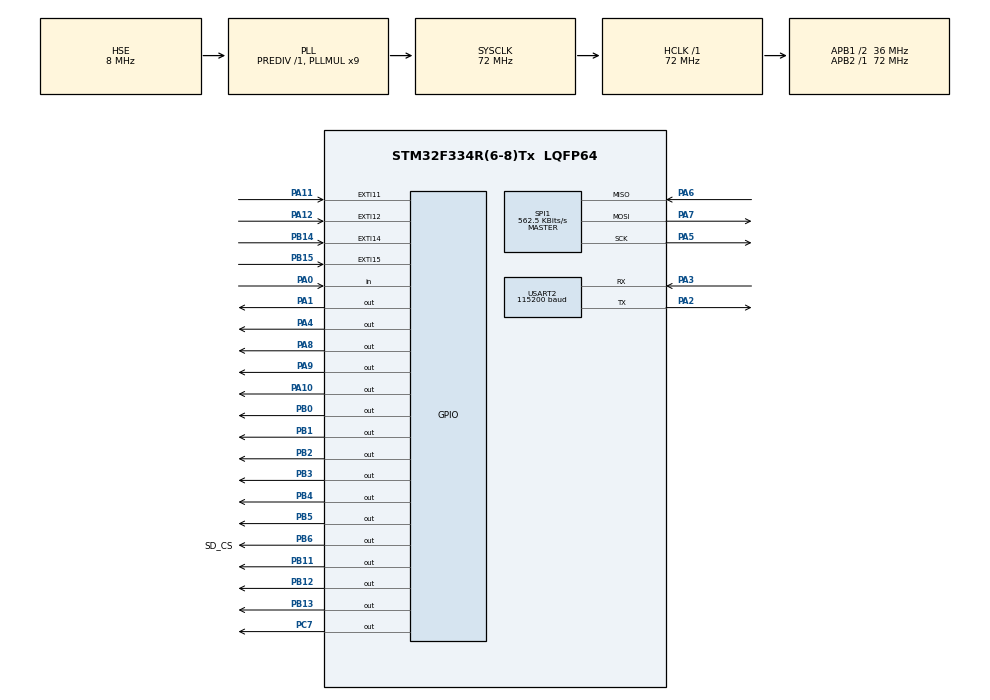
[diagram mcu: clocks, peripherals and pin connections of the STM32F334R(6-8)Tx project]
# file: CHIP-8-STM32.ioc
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Mcu.Family=STM32F3
Mcu.Name=STM32F334R(6-8)Tx
Mcu.Package=LQFP64
NVIC.EXTI15_10_IRQn=true\:0\:0\:false\:false\:true\:true\:true\:true
NVIC.PriorityGroup=NVIC_PRIORITYGROUP_4
PA0.Signal=GPIO_Input
PA1.Signal=GPIO_Output
PA10.Signal=GPIO_Output
PA11.Signal=GPXTI11
PA12.Signal=GPXTI12
PA2.Mode=Asynchronous
PA2.Signal=USART2_TX
PA3.Mode=Asynchronous
PA3.Signal=USART2_RX
PA4.Signal=GPIO_Output
PA5.GPIO_PuPd=GPIO_PULLUP
PA5.GPIO_Speed=GPIO_SPEED_FREQ_HIGH
PA5.Mode=Full_Duplex_Master
PA5.Signal=SPI1_SCK
PA6.GPIO_PuPd=GPIO_PULLUP
PA6.Mode=Full_Duplex_Master
PA6.Signal=SPI1_MISO
PA7.GPIO_PuPd=GPIO_PULLUP
PA7.Mode=Full_Duplex_Master
PA7.Signal=SPI1_MOSI
PA8.Signal=GPIO_Output
PA9.Signal=GPIO_Output
PB0.Signal=GPIO_Output
PB1.Signal=GPIO_Output
PB11.Signal=GPIO_Output
PB12.Signal=GPIO_Output
PB13.GPIO_ModeDefaultOutputPP=GPIO_MODE_OUTPUT_PP
PB13.GPIO_PuPd=GPIO_NOPULL
PB13.PinState=GPIO_PIN_RESET
PB13.Signal=GPIO_Output
PB14.Signal=GPXTI14
PB15.Signal=GPXTI15
PB2.Signal=GPIO_Output
PB3.Signal=GPIO_Output
PB4.Signal=GPIO_Output
PB5.Signal=GPIO_Output
PB6.GPIO_Label=SD_CS
PB6.GPIO_PuPd=GPIO_NOPULL
PB6.Signal=GPIO_Output
PC7.Signal=GPIO_Output
PF0\ /\ OSC_IN.Mode=HSE-External-Oscillator
PF0\ /\ OSC_IN.Signal=RCC_OSC_IN
PF1\ /\ OSC_OUT.Mode=HSE-External-Oscillator
PF1\ /\ OSC_OUT.Signal=RCC_OSC_OUT
ProjectManager.HeapSize=0x200
ProjectManager.StackSize=0x400
ProjectManager.TargetToolchain=STM32CubeIDE
RCC.AHBFreq_Value=72000000
RCC.APB1CLKDivider=RCC_HCLK_DIV2
RCC.APB1Freq_Value=36000000
RCC.APB1TimFreq_Value=72000000
RCC.APB2Freq_Value=72000000
RCC.APB2TimFreq_Value=72000000
RCC.CortexFreq_Value=72000000
RCC.HCLKFreq_Value=72000000
RCC.HSE_VALUE=8000000
RCC.HSI_VALUE=8000000
RCC.LSE_VALUE=32768
RCC.PLLMUL=RCC_PLL_MUL9
RCC.PLLSourceVirtual=RCC_PLLSOURCE_HSE
RCC.SYSCLKFreq_VALUE=72000000
RCC.SYSCLKSourceVirtual=RCC_SYSCLKSOURCE_PLLCLK
SPI1.BaudRatePrescaler=SPI_BAUDRATEPRESCALER_128
SPI1.CalculateBaudRate=562.5 KBits/s
SPI1.DataSize=SPI_DATASIZE_8BIT
SPI1.Direction=SPI_DIRECTION_2LINES
SPI1.Mode=SPI_MODE_MASTER
SPI1.VirtualType=VM_MASTER
USART2.BaudRate=115200
USART2.VirtualMode-Asynchronous=VM_ASYNC
VP_FATFS_VS_Generic.Mode=User_defined
board=custom

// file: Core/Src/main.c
/* USER CODE BEGIN Header */
/**
 ******************************************************************************
 * @file           : main.c
 * @brief          : Main program body
 ******************************************************************************
 * @attention
 *
 * Copyright (c) 2023 STMicroelectronics.
 * All rights reserved.
 *
 * This software is licensed under terms that can be found in the LICENSE file
 * in the root directory of this software component.
 * If no LICENSE file comes with this software, it is provided AS-IS.
 *
 ******************************************************************************
 */
/* USER CODE END Header */
#include "main.h"
#include "fatfs.h"

/* USER CODE BEGIN Includes */
#include "chip8.h"
#include "config.h"
#include "font.h"
#include "ili9341.h"
#include "matrix_keypad_4x4.h"
#include "stm32f3xx_hal.h"
#include "stm32f3xx_hal_gpio.h"
#include "utils.h"
#include <stdarg.h> //for va_list var arg functions
#include <stdint.h>
#include <stdio.h>
#include <stdlib.h>
#include <string.h>

/* USER CODE END Includes */

SPI_HandleTypeDef hspi1;

UART_HandleTypeDef huart2;

void SystemClock_Config(void);
static void MX_GPIO_Init(void);
static void MX_SPI1_Init(void);
static void MX_USART2_UART_Init(void);

/* USER CODE BEGIN 0 */
Chip8 vm;
struct ILI9341_t lcd;
/* USER CODE END 0 */

int main(void) {

  /* MCU Configuration--------------------------------------------------------*/

  /* Reset of all peripherals, Initializes the Flash interface and the Systick.
   */
  HAL_Init();

  /* Configure the system clock */
  SystemClock_Config();

  /* Initialize all configured peripherals */
  MX_GPIO_Init();
  MX_SPI1_Init();
  MX_USART2_UART_Init();
  MX_FATFS_Init();
  /* USER CODE BEGIN 2 */
  Uart_Init(huart2);
  Keypad_Init(&vm);
  ILI9341_Init(&lcd, (struct ILI9341_Pin_t){LCD_D7},
               (struct ILI9341_Pin_t){LCD_D6}, (struct ILI9341_Pin_t){LCD_D5},
               (struct ILI9341_Pin_t){LCD_D4}, (struct ILI9341_Pin_t){LCD_D3},
               (struct ILI9341_Pin_t){LCD_D2}, (struct ILI9341_Pin_t){LCD_D1},
               (struct ILI9341_Pin_t){LCD_D0},

               (struct ILI9341_Pin_t){LCD_RESET},
               (struct ILI9341_Pin_t){LCD_CS}, (struct ILI9341_Pin_t){LCD_RS},
               (struct ILI9341_Pin_t){LCD_WR}, (struct ILI9341_Pin_t){LCD_RD});
  ILI9341_SendInitializationSequence(&lcd);
  ILI9341_SetOrientation(&lcd, HORIZONTAL);
  ILI9341_FillScreen(&lcd, ILI9341_RgbTo565(255, 0, 0));
  // ========== SD
  Uart_print("\r\n~ SD card demo by kiwih ~\r\n\r\n");

  HAL_Delay(1000); // a short delay is important to let the SD card settle

  // some variables for FatFs
  FATFS FatFs;  // Fatfs handle
  FIL fil;      // File handle
  FRESULT fres; // Result after operations

  // Open the file system
  fres = f_mount(&FatFs, "", 1); // 1=mount now
  if (fres != FR_OK) {
    Uart_print("f_mount error (%i)\r\n", fres);
    while (1)
      ;
  }

  DIR dir;
  char *path;
  char string[128];
  FRESULT res;
  // char *games[60];
  char games[60][13];
  int max_g_size = 0;
  int g_size = 0;

  path = "";

  res = f_opendir(&dir, path);

  if (res == FR_OK) {
    while (1) {
      FILINFO fno;

      res = f_readdir(&dir, &fno);

      if ((res != FR_OK) || (fno.fname[0] == 0))
        break;

      strcpy(games[g_size], fno.fname);
      g_size++;
    }
  }

  char *modes[5] = {"CHIP8", "SCH10", "SCH11"};
  char *freqs[9] = {"  600", " 1200", " 1800", " 2400", " 4800", " 9600", "19200", "38400", "99999"};

  int i_modes = 0;
  int i_freqs = 0;
  int pages = 0;
  int game = -1;

  for (int i = 0; i < 16; i++) {
    c8_release_key(&vm, i);
  }

  while (game == -1) {
    ILI9341_WriteMenu_array(&lcd, 10, 95, &font, 8, 10, g_size, &games, pages,
                            modes[i_modes], freqs[i_freqs]);

    for (int i = 0; i < 16; i++) {
      if (vm.keypad[i]) {
        switch (i) {
        case 0:
          i_modes = (i_modes + 1) % 3;
          break;
        case 7:
          if (pages > 0) {
            pages = pages - 1;
            ILI9341_FillScreen(&lcd, ILI9341_RgbTo565(255, 0, 0));
          }
          break;
        case 8:
          i_freqs = (i_freqs + 1) % 9;
          break;
        case 15:
          if (pages < g_size / 12) {
            pages = pages + 1;
            ILI9341_FillScreen(&lcd, ILI9341_RgbTo565(255, 0, 0));
          }
          break;
        default:
          if (i >= 1 && i <= 6) {
            game = i - 1 + pages * 12;
          } else {
            game = i - 9 + 6 + pages * 12;
          }
          break;
        }
        c8_release_key(&vm, i);
      }
    }
  }

  int emu_freq = atoi(freqs[i_freqs]);
  c8_init(&vm, emu_freq, i_modes, HAL_GetTick());
  c8_set_is_polling(&vm, false);

  fres = f_open(&fil, games[game], FA_READ);
  if (fres != FR_OK) {
    Uart_print("f_open error (%i)\r\n", fres);
    while (1)
      ;
  }
  UINT bytesRead;
  uint16_t size = f_size(&fil);
  unsigned char *data = NULL;
  data = malloc(size);
  FRESULT tmp = f_read(&fil, data, (UINT)size, &bytesRead);

  if (tmp != FR_OK) {
    Uart_print("Error reading file: %i\n", tmp);
    while (1)
      ;
  }
  if (bytesRead == 0) { // EOF
    Uart_print("Error reading file: 0 bytes read\n");
    while (1)
      ;
  }
  if (bytesRead != (UINT)size) {
    Uart_print("Error reading file: %i bytes read instead of %i\n", bytesRead,
               size);
    while (1)
      ;
  }

  ILI9341_FillScreen(&lcd, ILI9341_RgbTo565(0, 255, 0));
  f_close(&fil);

  memcpy(&vm.RAM[PC_OFFSET], data, size);
  free(data);

  int i = 0;
  int c_beeper = 0;

  for (int i = 0; i < KEYPAD_SIZE; i++)
    c8_release_key(&vm, i);

  while (1) {
    uint64_t start = HAL_GetTick();
    c_beeper++;
    if (c8_ended(&vm))
      return 1;
    if (c8_cycle(&vm) != 0)
      goto unknown_opcode;
    c8_decrement_timers(&vm);
    if (c8_screen_updated(&vm)) {
      ILI9341_PrintScreenMetal(&lcd, vm.screen, 2);
    }

    if (c8_sound(&vm)) {
      //      HAL_GPIO_WritePin(GPIOB, GPIO_PIN_13, GPIO_PIN_SET);
      PIN_HIGH_METAL((struct ILI9341_Pin_t){BEEPER});
    } else if (!c8_sound(&vm) && c_beeper == 60) {
      //    	HAL_GPIO_WritePin(GPIOB, GPIO_PIN_13, GPIO_PIN_RESET);
      PIN_LOW_METAL((struct ILI9341_Pin_t){BEEPER});
      c_beeper = 0;
    }

    uint64_t performance_freq = HAL_RCC_GetHCLKFreq();
    uint64_t end = HAL_GetTick();
    double elapsed_time = ((end - start) * 1000) / performance_freq;
    if (elapsed_time < GAME_LOOP_DELAY) {
      HAL_Delay((uint32_t)(GAME_LOOP_DELAY - elapsed_time + 0.5));
    }
  }

unknown_opcode:
  Uart_print("Unknown opcode: 0x%04X\n", vm.opcode);
  return 1;

  /* USER CODE END 2 */

  /* Infinite loop */
  while (1) {

  }
}

void SystemClock_Config(void) {
  RCC_OscInitTypeDef RCC_OscInitStruct = {0};
  RCC_ClkInitTypeDef RCC_ClkInitStruct = {0};

  /** Initializes the RCC Oscillators according to the specified parameters
   * in the RCC_OscInitTypeDef structure.
   */
  RCC_OscInitStruct.OscillatorType = RCC_OSCILLATORTYPE_HSE;
  RCC_OscInitStruct.HSEState = RCC_HSE_ON;
  RCC_OscInitStruct.HSEPredivValue = RCC_HSE_PREDIV_DIV1;
  RCC_OscInitStruct.HSIState = RCC_HSI_ON;
  RCC_OscInitStruct.PLL.PLLState = RCC_PLL_ON;
  RCC_OscInitStruct.PLL.PLLSource = RCC_PLLSOURCE_HSE;
  RCC_OscInitStruct.PLL.PLLMUL = RCC_PLL_MUL9;
  if (HAL_RCC_OscConfig(&RCC_OscInitStruct) != HAL_OK) {
    Error_Handler();
  }

  /** Initializes the CPU, AHB and APB buses clocks
   */
  RCC_ClkInitStruct.ClockType = RCC_CLOCKTYPE_HCLK | RCC_CLOCKTYPE_SYSCLK |
                                RCC_CLOCKTYPE_PCLK1 | RCC_CLOCKTYPE_PCLK2;
  RCC_ClkInitStruct.SYSCLKSource = RCC_SYSCLKSOURCE_PLLCLK;
  RCC_ClkInitStruct.AHBCLKDivider = RCC_SYSCLK_DIV1;
  RCC_ClkInitStruct.APB1CLKDivider = RCC_HCLK_DIV2;
  RCC_ClkInitStruct.APB2CLKDivider = RCC_HCLK_DIV1;

  if (HAL_RCC_ClockConfig(&RCC_ClkInitStruct, FLASH_LATENCY_2) != HAL_OK) {
    Error_Handler();
  }
}

static void MX_SPI1_Init(void) {

  /* SPI1 parameter configuration*/
  hspi1.Instance = SPI1;
  hspi1.Init.Mode = SPI_MODE_MASTER;
  hspi1.Init.Direction = SPI_DIRECTION_2LINES;
  hspi1.Init.DataSize = SPI_DATASIZE_8BIT;
  hspi1.Init.CLKPolarity = SPI_POLARITY_LOW;
  hspi1.Init.CLKPhase = SPI_PHASE_1EDGE;
  hspi1.Init.NSS = SPI_NSS_SOFT;
  hspi1.Init.BaudRatePrescaler = SPI_BAUDRATEPRESCALER_128;
  hspi1.Init.FirstBit = SPI_FIRSTBIT_MSB;
  hspi1.Init.TIMode = SPI_TIMODE_DISABLE;
  hspi1.Init.CRCCalculation = SPI_CRCCALCULATION_DISABLE;
  hspi1.Init.CRCPolynomial = 7;
  hspi1.Init.CRCLength = SPI_CRC_LENGTH_DATASIZE;
  hspi1.Init.NSSPMode = SPI_NSS_PULSE_ENABLE;
  if (HAL_SPI_Init(&hspi1) != HAL_OK) {
    Error_Handler();
  }
}

static void MX_USART2_UART_Init(void) {

  huart2.Instance = USART2;
  huart2.Init.BaudRate = 115200;
  huart2.Init.WordLength = UART_WORDLENGTH_8B;
  huart2.Init.StopBits = UART_STOPBITS_1;
  huart2.Init.Parity = UART_PARITY_NONE;
  huart2.Init.Mode = UART_MODE_TX_RX;
  huart2.Init.HwFlowCtl = UART_HWCONTROL_NONE;
  huart2.Init.OverSampling = UART_OVERSAMPLING_16;
  huart2.Init.OneBitSampling = UART_ONE_BIT_SAMPLE_DISABLE;
  huart2.AdvancedInit.AdvFeatureInit = UART_ADVFEATURE_NO_INIT;
  if (HAL_UART_Init(&huart2) != HAL_OK) {
    Error_Handler();
  }
}

static void MX_GPIO_Init(void) {
  GPIO_InitTypeDef GPIO_InitStruct = {0};

  /* GPIO Ports Clock Enable */
  __HAL_RCC_GPIOF_CLK_ENABLE();
  __HAL_RCC_GPIOA_CLK_ENABLE();
  __HAL_RCC_GPIOB_CLK_ENABLE();
  __HAL_RCC_GPIOC_CLK_ENABLE();

  /*Configure GPIO pin Output Level */
  HAL_GPIO_WritePin(
      GPIOA, GPIO_PIN_1 | GPIO_PIN_4 | GPIO_PIN_8 | GPIO_PIN_9 | GPIO_PIN_10,
      GPIO_PIN_RESET);

  /*Configure GPIO pin Output Level */
  HAL_GPIO_WritePin(GPIOB,
                    GPIO_PIN_0 | GPIO_PIN_1 | GPIO_PIN_2 | GPIO_PIN_11 |
                        GPIO_PIN_12 | GPIO_PIN_13 | GPIO_PIN_3 | GPIO_PIN_4 |
                        GPIO_PIN_5 | SD_CS_Pin,
                    GPIO_PIN_RESET);

  /*Configure GPIO pin Output Level */
  HAL_GPIO_WritePin(GPIOC, GPIO_PIN_7, GPIO_PIN_RESET);

  /*Configure GPIO pin : PA0 */
  GPIO_InitStruct.Pin = GPIO_PIN_0;
  GPIO_InitStruct.Mode = GPIO_MODE_INPUT;
  GPIO_InitStruct.Pull = GPIO_NOPULL;
  HAL_GPIO_Init(GPIOA, &GPIO_InitStruct);

  /*Configure GPIO pins : PA1 PA4 PA8 PA9
                           PA10 */
  GPIO_InitStruct.Pin =
      GPIO_PIN_1 | GPIO_PIN_4 | GPIO_PIN_8 | GPIO_PIN_9 | GPIO_PIN_10;
  GPIO_InitStruct.Mode = GPIO_MODE_OUTPUT_PP;
  GPIO_InitStruct.Pull = GPIO_NOPULL;
  GPIO_InitStruct.Speed = GPIO_SPEED_FREQ_LOW;
  HAL_GPIO_Init(GPIOA, &GPIO_InitStruct);

  /*Configure GPIO pins : PB0 PB1 PB2 PB11
                           PB12 PB13 PB3 PB4
                           PB5 SD_CS_Pin */
  GPIO_InitStruct.Pin = GPIO_PIN_0 | GPIO_PIN_1 | GPIO_PIN_2 | GPIO_PIN_11 |
                        GPIO_PIN_12 | GPIO_PIN_13 | GPIO_PIN_3 | GPIO_PIN_4 |
                        GPIO_PIN_5 | SD_CS_Pin;
  GPIO_InitStruct.Mode = GPIO_MODE_OUTPUT_PP;
  GPIO_InitStruct.Pull = GPIO_NOPULL;
  GPIO_InitStruct.Speed = GPIO_SPEED_FREQ_LOW;
  HAL_GPIO_Init(GPIOB, &GPIO_InitStruct);

  /*Configure GPIO pins : PB14 PB15 */
  GPIO_InitStruct.Pin = GPIO_PIN_14 | GPIO_PIN_15;
  GPIO_InitStruct.Mode = GPIO_MODE_IT_RISING;
  GPIO_InitStruct.Pull = GPIO_NOPULL;
  HAL_GPIO_Init(GPIOB, &GPIO_InitStruct);

  /*Configure GPIO pin : PC7 */
  GPIO_InitStruct.Pin = GPIO_PIN_7;
  GPIO_InitStruct.Mode = GPIO_MODE_OUTPUT_PP;
  GPIO_InitStruct.Pull = GPIO_NOPULL;
  GPIO_InitStruct.Speed = GPIO_SPEED_FREQ_LOW;
  HAL_GPIO_Init(GPIOC, &GPIO_InitStruct);

  /*Configure GPIO pins : PA11 PA12 */
  GPIO_InitStruct.Pin = GPIO_PIN_11 | GPIO_PIN_12;
  GPIO_InitStruct.Mode = GPIO_MODE_IT_RISING;
  GPIO_InitStruct.Pull = GPIO_NOPULL;
  HAL_GPIO_Init(GPIOA, &GPIO_InitStruct);

  /* EXTI interrupt init*/
  HAL_NVIC_SetPriority(EXTI15_10_IRQn, 0, 0);
  HAL_NVIC_EnableIRQ(EXTI15_10_IRQn);

}

/* USER CODE BEGIN 4 */

// ===== Keypad
void HAL_GPIO_EXTI_Callback(uint16_t GPIO_Pin) {
  Interrupt_handle_keypad(GPIO_Pin);
}
/* USER CODE END 4 */

void Error_Handler(void) {
  /* USER CODE BEGIN Error_Handler_Debug */
  /* User can add his own implementation to report the HAL error return
   * state
   */
  __disable_irq();
  while (1) {
  }
  /* USER CODE END Error_Handler_Debug */
}

#ifdef USE_FULL_ASSERT
/**
 * @brief  Reports the name of the source file and the source line number
 *         where the assert_param error has occurred.
 * @param  file: pointer to the source file name
 * @param  line: assert_param error line source number
 * @retval None
 */
void assert_failed(uint8_t *file, uint32_t line) {
  /* USER CODE BEGIN 6 */
  /* User can add his own implementation to report the file name and line
     number, ex: printf("Wrong parameters value: file %s on line %d\r\n",
     file, line) */
  /* USER CODE END 6 */
}
#endif /* USE_FULL_ASSERT */
